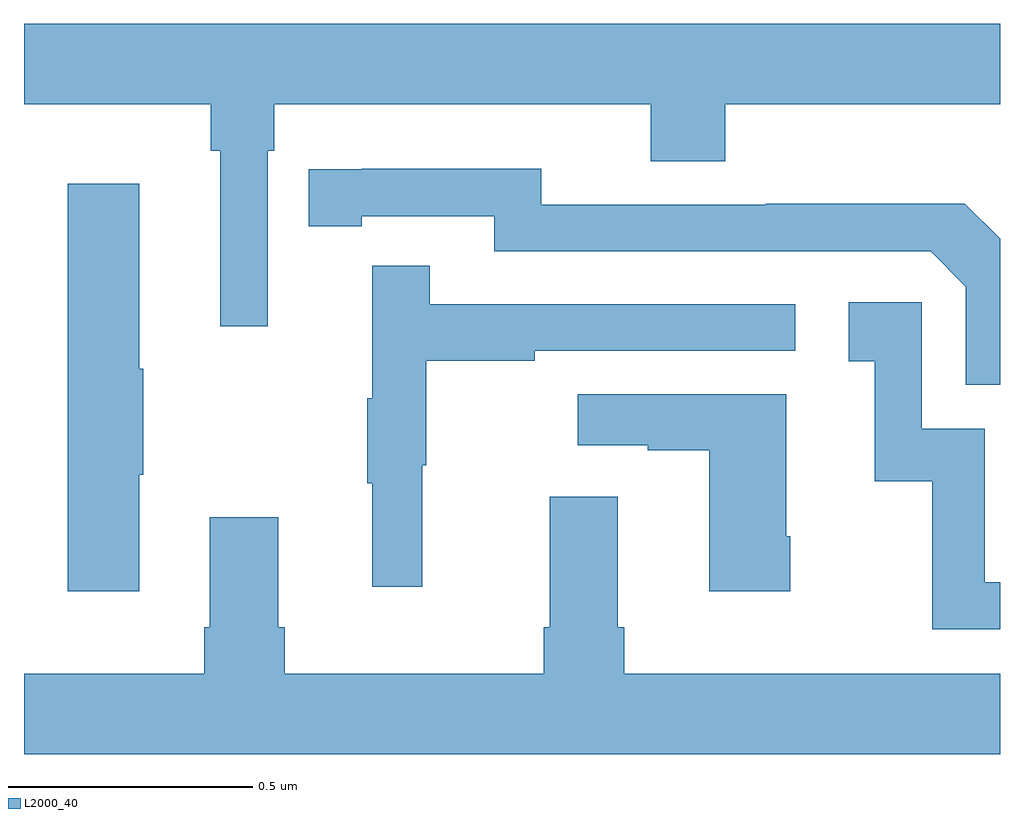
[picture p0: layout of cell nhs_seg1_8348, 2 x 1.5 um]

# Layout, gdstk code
import gdstk
lib = gdstk.Library(unit=1e-6, precision=1e-09)
def P(c, l, *ps):  # polygons
    for p in ps: c.add(gdstk.Polygon(p, *l))
L2000_40 = (2000, 40)

nhs_seg1_8348 = lib.new_cell('nhs_seg1_8348')
P(nhs_seg1_8348, L2000_40, [(215.499,543.644),(215.513,543.644),(215.513,543.74),(216.284,543.74),(216.284,543.623),(216.437,543.623),(216.437,543.74),(217,543.74),(217,543.904),(215,543.904),(215,543.74),(215.383,543.74),(215.383,543.644),(215.402,543.644),(215.402,543.285),(215.499,543.285)],
  [(217,543.464),(216.928,543.536),(216.52,543.536),(216.52,543.534),(216.06,543.534),(216.06,543.607),(215.692,543.607),(215.692,543.606),(215.584,543.606),(215.584,543.49),(215.692,543.49),(215.692,543.51),(215.964,543.51),(215.964,543.438),(216.858,543.438),(216.93,543.366),(216.93,543.165),(217,543.165)],
  [(215.236,542.98),(215.244,542.98),(215.244,543.197),(215.236,543.197),(215.236,543.577),(215.09,543.577),(215.09,542.742),(215.236,542.742)],
  [(215.816,543),(215.824,543),(215.824,543.214),(216.047,543.214),(216.047,543.234),(216.58,543.234),(216.58,543.33),(215.831,543.33),(215.831,543.409),(215.714,543.409),(215.714,543.137),(215.703,543.137),(215.703,542.963),(215.714,542.963),(215.714,542.751),(215.816,542.751)],
  [(217,542.76),(216.969,542.76),(216.969,543.075),(216.84,543.075),(216.84,543.334),(216.69,543.334),(216.69,543.213),(216.743,543.213),(216.743,542.967),(216.861,542.967),(216.861,542.664),(217,542.664)],
  [(216.57,542.854),(216.562,542.854),(216.562,543.145),(216.135,543.145),(216.135,543.041),(216.278,543.041),(216.278,543.031),(216.404,543.031),(216.404,542.742),(216.57,542.742)],
  [(216.217,542.668),(216.217,542.935),(216.077,542.935),(216.077,542.668),(216.065,542.668),(216.065,542.572),(215.534,542.572),(215.534,542.668),(215.521,542.668),(215.521,542.893),(215.381,542.893),(215.381,542.668),(215.369,542.668),(215.369,542.572),(215,542.572),(215,542.408),(217,542.408),(217,542.572),(216.23,542.572),(216.23,542.668)])

lib.write_gds('nhs_seg1_8348.gds')
